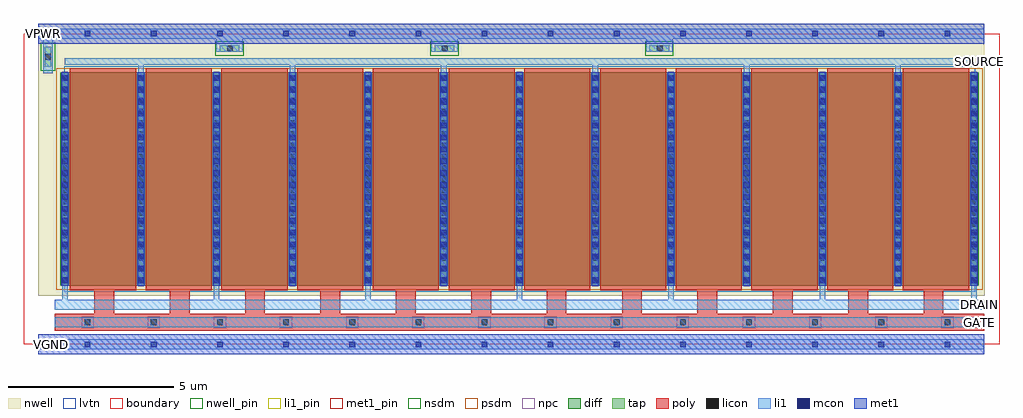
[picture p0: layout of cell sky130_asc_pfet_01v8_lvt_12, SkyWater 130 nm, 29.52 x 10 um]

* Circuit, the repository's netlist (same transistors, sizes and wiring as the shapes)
* NGSPICE file created from sky130_asc_pfet_01v8_lvt_12.ext - technology: sky130A

.subckt sky130_asc_pfet_01v8_lvt_12 GATE SOURCE DRAIN VGND VPWR
X0 SOURCE GATE DRAIN VPWR sky130_fd_pr__pfet_01v8_lvt ad=1.1223e+13p pd=8.088e+07u as=1.30935e+13p ps=9.436e+07u w=6.45e+06u l=2e+06u
X1 SOURCE GATE DRAIN VPWR sky130_fd_pr__pfet_01v8_lvt ad=0p pd=0u as=0p ps=0u w=6.45e+06u l=2e+06u
X2 DRAIN GATE SOURCE VPWR sky130_fd_pr__pfet_01v8_lvt ad=0p pd=0u as=0p ps=0u w=6.45e+06u l=2e+06u
X3 DRAIN GATE SOURCE VPWR sky130_fd_pr__pfet_01v8_lvt ad=0p pd=0u as=0p ps=0u w=6.45e+06u l=2e+06u
X4 SOURCE GATE DRAIN VPWR sky130_fd_pr__pfet_01v8_lvt ad=0p pd=0u as=0p ps=0u w=6.45e+06u l=2e+06u
X5 DRAIN GATE SOURCE VPWR sky130_fd_pr__pfet_01v8_lvt ad=0p pd=0u as=0p ps=0u w=6.45e+06u l=2e+06u
X6 DRAIN GATE SOURCE VPWR sky130_fd_pr__pfet_01v8_lvt ad=0p pd=0u as=0p ps=0u w=6.45e+06u l=2e+06u
X7 DRAIN GATE SOURCE VPWR sky130_fd_pr__pfet_01v8_lvt ad=0p pd=0u as=0p ps=0u w=6.45e+06u l=2e+06u
X8 SOURCE GATE DRAIN VPWR sky130_fd_pr__pfet_01v8_lvt ad=0p pd=0u as=0p ps=0u w=6.45e+06u l=2e+06u
X9 SOURCE GATE DRAIN VPWR sky130_fd_pr__pfet_01v8_lvt ad=0p pd=0u as=0p ps=0u w=6.45e+06u l=2e+06u
X10 DRAIN GATE SOURCE VPWR sky130_fd_pr__pfet_01v8_lvt ad=0p pd=0u as=0p ps=0u w=6.45e+06u l=2e+06u
X11 SOURCE GATE DRAIN VPWR sky130_fd_pr__pfet_01v8_lvt ad=0p pd=0u as=0p ps=0u w=6.45e+06u l=2e+06u
.ends

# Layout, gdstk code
import gdstk
lib = gdstk.Library(unit=1e-6, precision=1e-09)
def R(c, l, rs):  # rectangles x0, y0, x1, y1
    for r in rs: c.add(gdstk.rectangle(r[:2], r[2:], *l))
def A(c, l, x, y, w, h, nx, ny, dx, dy):  # array of equal rectangles
    R(c, l, [(x+i*dx, y+j*dy, x+i*dx+w, y+j*dy+h) for i in range(nx) for j in range(ny)])
nwell_pin = (64, 16)
nwell = (64, 20)
diff = (65, 20)
tap = (65, 44)
poly = (66, 20)
licon = (66, 44)
li1_pin = (67, 16)
li1 = (67, 20)
mcon = (67, 44)
met1_pin = (68, 16)
met1 = (68, 20)
nsdm = (93, 44)
psdm = (94, 20)
npc = (95, 20)
lvtn = (125, 44)
boundary = (235, 4)

sky130_asc_pfet_01v8_lvt = lib.new_cell('sky130_asc_pfet_01v8_lvt_12')
R(sky130_asc_pfet_01v8_lvt, nwell_pin, [(0.45,9.25,0.75,9.55)])
R(sky130_asc_pfet_01v8_lvt, nwell, [(0.935,1.465,29.065,1.47), (0.45,1.47,29.065,8.535), (0.45,8.535,29.06,9.7)])
R(sky130_asc_pfet_01v8_lvt, diff, [(1.115,1.775,28.885,8.225)])
A(sky130_asc_pfet_01v8_lvt, tap, 5.93, 8.85, 0.6, 0.2, 3, 1, 6.5, 0)
R(sky130_asc_pfet_01v8_lvt, tap, [(0.64,8.4,0.84,9)])
A(sky130_asc_pfet_01v8_lvt, poly, 2.14, 0.92, 0.6, 0.725, 12, 1, 2.28, 0)
A(sky130_asc_pfet_01v8_lvt, poly, 1.405, 1.645, 2, 6.71, 12, 1, 2.29, 0)
R(sky130_asc_pfet_01v8_lvt, poly, [(0.94,0.42,29.06,0.92)])
A(sky130_asc_pfet_01v8_lvt, licon, 1.855, 0.585, 0.17, 0.17, 14, 1, 2, 0)
A(sky130_asc_pfet_01v8_lvt, licon, 1.175, 1.855, 0.17, 0.17, 13, 19, 2.29, 0.34)
A(sky130_asc_pfet_01v8_lvt, licon, 6.155, 8.865, 0.17, 0.17, 3, 1, 6.5, 0)
R(sky130_asc_pfet_01v8_lvt, licon, [(0.655,8.615,0.825,8.785)])
R(sky130_asc_pfet_01v8_lvt, li1_pin, [(28.76,0.52,29.06,0.82), (28.76,1.05,29.06,1.35), (28.76,8.45,29.06,8.65)])
A(sky130_asc_pfet_01v8_lvt, li1, 1.175, 1.35, 0.17, 6.895, 7, 1, 4.58, 0)
A(sky130_asc_pfet_01v8_lvt, li1, 3.465, 1.755, 0.17, 6.695, 6, 1, 4.58, 0)
A(sky130_asc_pfet_01v8_lvt, li1, 5.83, 8.85, 0.8, 0.4, 3, 1, 6.5, 0)
R(sky130_asc_pfet_01v8_lvt, li1, [(0.45,-0.15,29.06,0.15), (0.94,0.52,29.06,0.82), (0.94,1.05,29.06,1.35), (0.59,8.2,0.89,9.25), (1.24,8.45,29.06,8.65), (0.45,9.25,29.06,9.55)])
A(sky130_asc_pfet_01v8_lvt, mcon, 1.855, -0.085, 0.17, 0.17, 14, 2, 2, 9.4)
A(sky130_asc_pfet_01v8_lvt, mcon, 1.175, 1.855, 0.17, 0.17, 13, 18, 2.29, 0.36)
R(sky130_asc_pfet_01v8_lvt, met1_pin, [(0.45,-0.15,1.24,0.15)])
A(sky130_asc_pfet_01v8_lvt, met1, 1.145, 1.775, 0.23, 6.45, 13, 1, 2.29, 0)
R(sky130_asc_pfet_01v8_lvt, met1, [(0.45,-0.3,29.06,0.3), (0.45,9.1,29.06,9.7)])
A(sky130_asc_pfet_01v8_lvt, nsdm, 5.805, 8.725, 0.85, 0.45, 3, 1, 6.5, 0)
R(sky130_asc_pfet_01v8_lvt, nsdm, [(0.515,8.275,0.965,9.125)])
R(sky130_asc_pfet_01v8_lvt, psdm, [(0.99,1.65,29.01,8.35)])
A(sky130_asc_pfet_01v8_lvt, npc, 1.755, 0.485, 0.37, 0.37, 14, 1, 2, 0)
R(sky130_asc_pfet_01v8_lvt, lvtn, [(1.225,1.595,28.775,8.405)])
R(sky130_asc_pfet_01v8_lvt, boundary, [(0,0,29.515,9.4)])
sky130_asc_pfet_01v8_lvt.add(gdstk.Label('GATE', (28.91,0.67), layer=67, texttype=16))
sky130_asc_pfet_01v8_lvt.add(gdstk.Label('SOURCE', (28.91,8.55), layer=67, texttype=16))
sky130_asc_pfet_01v8_lvt.add(gdstk.Label('DRAIN', (28.91,1.2), layer=67, texttype=16))
sky130_asc_pfet_01v8_lvt.add(gdstk.Label('VPWR', (0.6,9.4), layer=64, texttype=16))
sky130_asc_pfet_01v8_lvt.add(gdstk.Label('VGND', (0.845,0), layer=68, texttype=16))

lib.write_gds('sky130_asc_pfet_01v8_lvt_12.gds')
